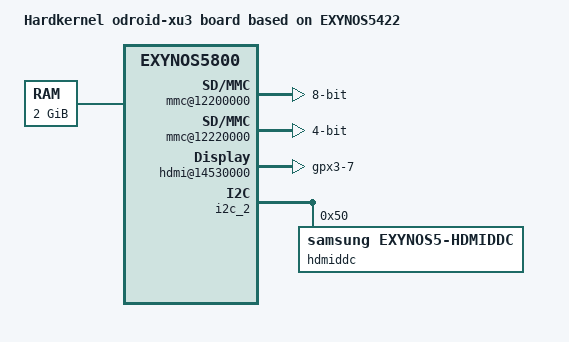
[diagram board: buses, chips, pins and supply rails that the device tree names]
/*
 * SAMSUNG odroid-xu3 board device tree source
 *
 * Copyright (c) 2013 Samsung Electronics Co., Ltd.
 *             http://www.samsung.com
 *
 * This program is free software; you can redistribute it and/or modify
 * it under the terms of the GNU General Public License version 2 as
 * published by the Free Software Foundation.
*/

/dts-v1/;
#include "exynos5800.dtsi"

/ {
	model = "Hardkernel odroid-xu3 board based on EXYNOS5422";

	memory {
		reg = <0x40000000 0x80000000>;

		reserved-memory {
			#address-cells = <1>;
			#size-cells = <1>;

			contig_mem: region@0 {
				compatible = "linux,contiguous-memory-region";
				reg = <0x0 0x4000000>;
				linux,default-contiguous-region;
			};
		};
	};

	chosen {
		bootargs = "root=/dev/mmcblk0p2 rw rootwait rootfstype=ext4 init=/bin/bash console=ttySAC2,115200";
	};

	fixed-rate-clocks {
		oscclk {
			compatible = "samsung,exynos5420-oscclk";
			clock-frequency = <24000000>;
		};
	};

	rtc {
		status = "okay";
	};

	firmware@02073000 {
		compatible = "samsung,secure-firmware";
		reg = <0x02073000 0x1000>;
	};

	mmc@12200000 {
		status = "okay";
		broken-cd;
		card-detect-delay = <200>;
		samsung,dw-mshc-ciu-div = <3>;
		samsung,dw-mshc-sdr-timing = <0 4>;
		samsung,dw-mshc-ddr-timing = <0 2>;
		pinctrl-names = "default";
		pinctrl-0 = <&sd0_clk &sd0_cmd &sd0_bus4 &sd0_bus8>;
		bus-width = <8>;
		cap-mmc-highspeed;
	};

	mmc@12220000 {
		status = "okay";
		card-detect-delay = <200>;
		samsung,dw-mshc-ciu-div = <3>;
		samsung,dw-mshc-sdr-timing = <2 3>;
		samsung,dw-mshc-ddr-timing = <1 2>;
		pinctrl-names = "default";
		pinctrl-0 = <&sd2_clk &sd2_cmd &sd2_cd &sd2_bus4>;
		bus-width = <4>;
		cap-sd-highspeed;
	};

	pinctrl@13400000 {
		hdmi_hpd_irq: hdmi-hpd-irq {
			samsung,pins = "gpx3-7";
			samsung,pin-function = <0>;
			samsung,pin-pud = <1>;
			samsung,pin-drv = <0>;
		};
	};

	hdmi@14530000 {
		status = "okay";
		hpd-gpio = <&gpx3 7 0>;
		pinctrl-names = "default";
		pinctrl-0 = <&hdmi_hpd_irq>;

		hdmi-en-supply = <&ldo6_reg>;
		vdd-supply = <&ldo6_reg>;
		vdd_osc-supply = <&ldo7_reg>;
		vdd_pll-supply = <&ldo6_reg>;
	};

	i2c_2: i2c@12C80000 {
		samsung,i2c-sda-delay = <100>;
		samsung,i2c-max-bus-freq = <66000>;
		status = "okay";

		hdmiddc@50 {
			compatible = "samsung,exynos5-hdmiddc";
			reg = <0x50>;
		};
	};
};
